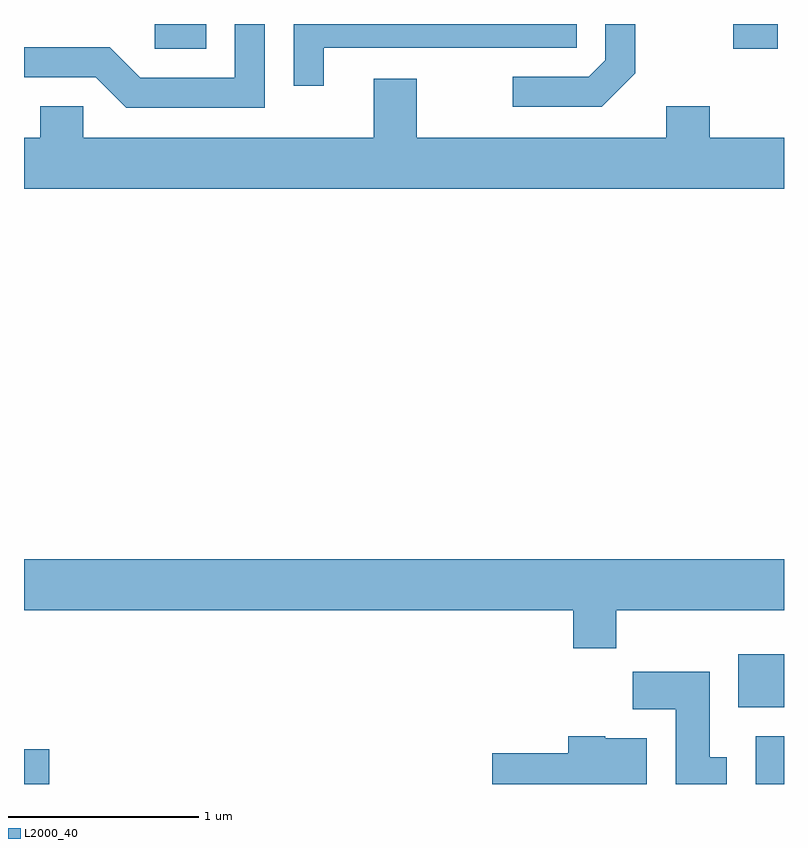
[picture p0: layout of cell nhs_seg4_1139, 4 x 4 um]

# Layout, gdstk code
import gdstk
lib = gdstk.Library(unit=1e-6, precision=1e-09)
def R(c, l, rs):  # rectangles x0, y0, x1, y1
    for r in rs: c.add(gdstk.rectangle(r[:2], r[2:], *l))
def P(c, l, *ps):  # polygons
    for p in ps: c.add(gdstk.Polygon(p, *l))
L2000_40 = (2000, 40)

nhs_seg4_1139 = lib.new_cell('nhs_seg4_1139')
R(nhs_seg4_1139, L2000_40, [(217.611,1355.982,217.744,1356.164), (221.461,1355.982,221.611,1356.234), (221.371,1356.386,221.611,1356.664), (218.298,1359.851,218.569,1359.982), (221.343,1359.851,221.579,1359.982)])
P(nhs_seg4_1139, L2000_40, [(219.189,1359.856),(220.519,1359.856),(220.519,1359.982),(219.031,1359.982),(219.031,1359.658),(219.189,1359.658)],
  [(218.879,1359.982),(218.721,1359.982),(218.721,1359.699),(218.222,1359.699),(218.062,1359.859),(217.611,1359.859),(217.611,1359.701),(217.989,1359.701),(218.149,1359.541),(218.879,1359.541)],
  [(220.829,1359.724),(220.829,1359.982),(220.671,1359.982),(220.671,1359.792),(220.584,1359.704),(220.183,1359.704),(220.183,1359.546),(220.652,1359.546)],
  [(221.611,1359.384),(221.219,1359.384),(221.219,1359.549),(220.991,1359.549),(220.991,1359.384),(219.679,1359.384),(219.679,1359.694),(219.451,1359.694),(219.451,1359.384),(217.924,1359.384),(217.924,1359.549),(217.696,1359.549),(217.696,1359.384),(217.611,1359.384),(217.611,1359.116),(221.611,1359.116)],
  [(220.729,1356.896),(221.611,1356.896),(221.611,1357.164),(217.611,1357.164),(217.611,1356.896),(220.501,1356.896),(220.501,1356.696),(220.729,1356.696)],
  [(221.309,1356.124),(221.219,1356.124),(221.219,1356.574),(220.816,1356.574),(220.816,1356.376),(221.041,1356.376),(221.041,1355.982),(221.309,1355.982)],
  [(220.889,1356.224),(220.67,1356.224),(220.67,1356.234),(220.476,1356.234),(220.476,1356.144),(220.076,1356.144),(220.076,1355.982),(220.889,1355.982)])

lib.write_gds('nhs_seg4_1139.gds')
